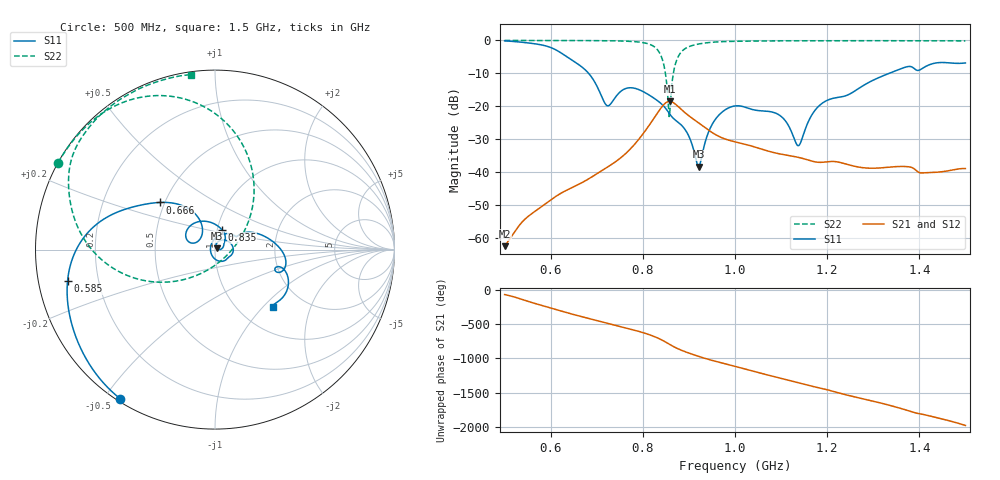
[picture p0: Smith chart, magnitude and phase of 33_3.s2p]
! TOUCHSTONE file generated by CST MICROWAVE STUDIO
! Date and time: Fri Oct 30 08:07:32 2020
! Project name: Scenario_1_Circular_Tissue_out_of_Line.cst
! Parameters = {dy1=208.912; L_HA=400; MT=2.54; Rad_Dielectric=30; Rad_Lower=7.3; Rad_Upper=30; a_HA=580; a_WG=246; b_HA=500; b_WG=121; c_HA=0; c_WG=187; d_feed=85; dx1=520; h_feed=15; h_lower=18; h_upper=40}
! Header version: 2018
! Port assignment regex: !\s*Touchstone port\s*([0-9]+)\s*=\s*(CST MWS port|CST DS port)\s*([0-9]+|Zmin|Zmax)\s*\(\"(.*)\"\)(\s*mode\s*([0-9]+))?.*
! Touchstone port assignment:
! Touchstone port 1 = CST MWS port 1 ("")
! Touchstone port 2 = CST MWS port 2 ("")
# GHz S DB R 50
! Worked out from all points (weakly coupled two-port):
!   1001 points, 500 MHz to 1.5 GHz, reference 50 ohm
!   highest |S21| = -18.48 dB at 858 MHz (marker M1); lowest = -62.4 dB at 500 MHz (marker M2)
!   lowest |S11| = -38.3 dB at 921 MHz (marker M3), VSWR 1.02, Z = 51 + j0.763 ohm
!   |S11| at or under -10 dB: 682.4 MHz to 1.334 GHz (651.8 MHz wide, 64.6 % of centre)
!   |S22| runs from -23.1 to 0.0 dB; largest |S21 - S12| = 6.3e-06
!   S11 on the Smith chart (normalised r, x): 500 MHz: 0.01, -0.55; 585 MHz: 0.09, -0.11; 666 MHz: 0.47, +0.30; 835 MHz: 1.05, +0.24; 1.5 GHz: 1.42, -1.14
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0.5  -0.14 -122.5  -62.42 -72.9  -62.42 -72.9  -0.01 151.1
0.585  -1.51 -167.9  -49.93 121.1  -49.93 121.1  -0.02 145.3
0.623  -3.83 164.7  -46.30 47.7  -46.30 47.7  -0.02 142.3
0.666  -7.87 139.5  -43.29 -31.4  -43.29 -31.4  -0.04 138.5
0.667  -7.98 138.8  -43.22 -33.1  -43.22 -33.1  -0.04 138.4
0.722  -19.75 139.8  -38.53 -128.1  -38.53 -128.1  -0.09 132.0
0.771  -14.36 141.7  -33.20 149.8  -33.20 149.8  -0.27 122.8
0.814  -16.59 94.9  -25.70 65.0  -25.70 65.0  -1.14 104.4
0.834  -18.51 72.2  -21.56 11.9  -21.56 11.9  -3.25 82.9
0.835  -18.62 70.9  -21.36 8.8  -21.36 8.8  -3.47 81.3
0.847  -20.20 55.5  -19.25 -32.2  -19.25 -32.2  -8.38 55.2
0.858  -22.28 43.5  -18.48 -74.9  -18.48 -74.9  -22.77 -68.9
0.877  -24.85 29.8  -20.10 -141.5  -20.10 -141.5  -4.84 -169.2
0.899  -28.81 5.9  -22.78 160.8  -22.78 160.8  -1.95 167.9
0.921  -38.29 38.0  -25.02 110.8  -25.02 110.8  -1.08 157.4
0.954  -24.63 60.1  -28.27 45.6  -28.27 45.6  -0.51 148.3
1  -19.87 4.4  -30.76 -33.5  -30.76 -33.5  -0.26 140.2
1.095  -22.54 -61.3  -34.36 160.4  -34.36 160.4  -0.13 130.2
1.137  -31.94 -175.8  -35.46 88.2  -35.46 88.2  -0.11 126.6
1.167  -22.55 79.4  -36.62 37.8  -36.62 37.8  -0.10 124.2
1.334  -10.01 9.6  -38.46 123.9  -38.46 123.9  -0.09 111.5
1.5  -6.84 -44.5  -38.88 -170.9  -38.88 -170.9  -0.14 97.9
